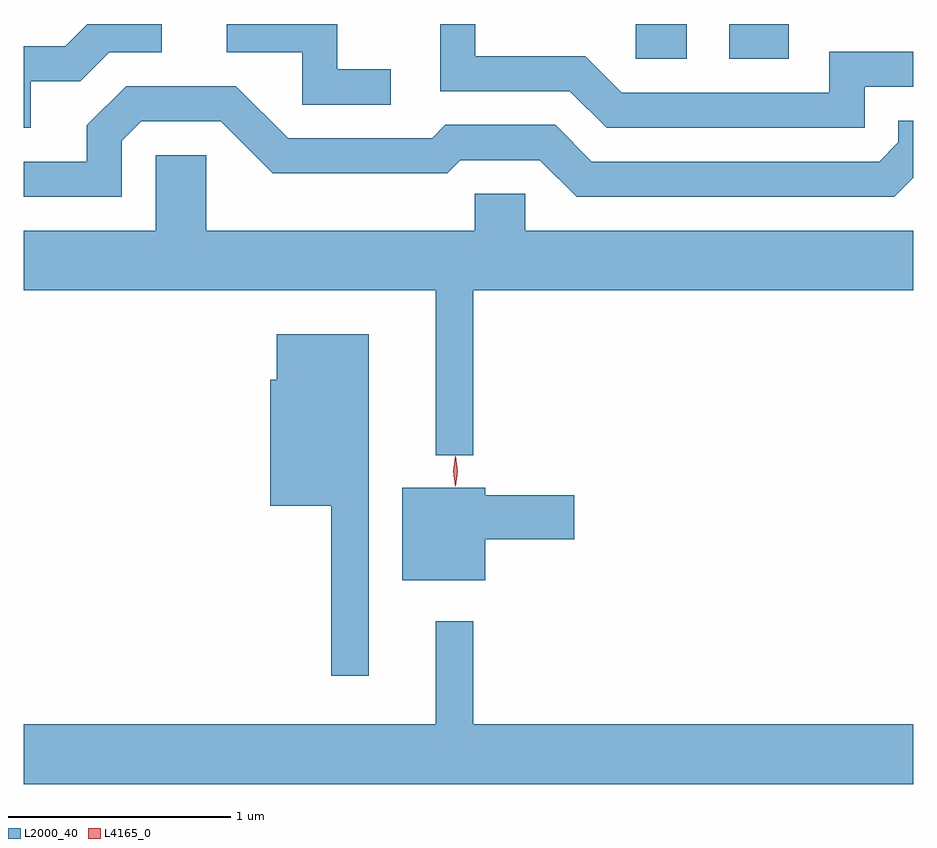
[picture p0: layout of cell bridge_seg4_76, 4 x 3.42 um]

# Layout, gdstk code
import gdstk
lib = gdstk.Library(unit=1e-6, precision=1e-09)
def R(c, l, rs):  # rectangles x0, y0, x1, y1
    for r in rs: c.add(gdstk.rectangle(r[:2], r[2:], *l))
def P(c, l, *ps):  # polygons
    for p in ps: c.add(gdstk.Polygon(p, *l))
L2000_40 = (2000, 40)
L4165_0 = (4165, 0)

bridge_seg4_76 = lib.new_cell('bridge_seg4_76')
R(bridge_seg4_76, L2000_40, [(1898.561,1382.356,1898.789,1382.513), (1898.981,1382.356,1899.248,1382.513)])
P(bridge_seg4_76, L2000_40, [(1895.839,1382.256),(1896.062,1382.256),(1896.192,1382.386),(1896.428,1382.386),(1896.428,1382.513),(1896.093,1382.513),(1895.994,1382.414),(1895.808,1382.414),(1895.808,1382.046),(1895.839,1382.046)],
  [(1897.458,1382.309),(1897.219,1382.309),(1897.219,1382.513),(1896.721,1382.513),(1896.721,1382.386),(1897.061,1382.386),(1897.061,1382.151),(1897.458,1382.151)],
  [(1899.589,1382.231),(1899.808,1382.231),(1899.808,1382.389),(1899.431,1382.389),(1899.431,1382.204),(1898.497,1382.204),(1898.332,1382.369),(1897.839,1382.369),(1897.839,1382.513),(1897.681,1382.513),(1897.681,1382.211),(1898.264,1382.211),(1898.429,1382.046),(1899.589,1382.046)],
  [(1896.249,1381.989),(1896.337,1382.076),(1896.694,1382.076),(1896.929,1381.841),(1897.712,1381.841),(1897.772,1381.901),(1898.129,1381.901),(1898.294,1381.736),(1899.722,1381.736),(1899.808,1381.822),(1899.808,1382.079),(1899.741,1382.079),(1899.741,1381.982),(1899.654,1381.894),(1898.362,1381.894),(1898.197,1382.059),(1897.704,1382.059),(1897.644,1381.999),(1896.997,1381.999),(1896.762,1382.234),(1896.269,1382.234),(1896.091,1382.057),(1896.091,1381.894),(1895.808,1381.894),(1895.808,1381.736),(1896.249,1381.736)],
  [(1897.829,1381.316),(1899.808,1381.316),(1899.808,1381.584),(1898.064,1381.584),(1898.064,1381.749),(1897.836,1381.749),(1897.836,1381.584),(1896.629,1381.584),(1896.629,1381.924),(1896.401,1381.924),(1896.401,1381.584),(1895.808,1381.584),(1895.808,1381.316),(1897.661,1381.316),(1897.661,1380.573),(1897.829,1380.573)],
  [(1897.359,1381.119),(1896.946,1381.119),(1896.946,1380.914),(1896.916,1380.914),(1896.916,1380.346),(1897.191,1380.346),(1897.191,1379.583),(1897.359,1379.583)],
  [(1897.884,1380.196),(1898.284,1380.196),(1898.284,1380.394),(1897.884,1380.394),(1897.884,1380.429),(1897.511,1380.429),(1897.511,1380.011),(1897.884,1380.011)],
  [(1899.808,1379.364),(1897.829,1379.364),(1897.829,1379.828),(1897.661,1379.828),(1897.661,1379.364),(1895.808,1379.364),(1895.808,1379.096),(1899.808,1379.096)])
P(bridge_seg4_76, L4165_0, [(1897.749,1380.434),(1897.74,1380.502),(1897.749,1380.57),(1897.749,1380.57),(1897.75,1380.57),(1897.76,1380.502),(1897.75,1380.434),(1897.75,1380.434)])

lib.write_gds('bridge_seg4_76.gds')
